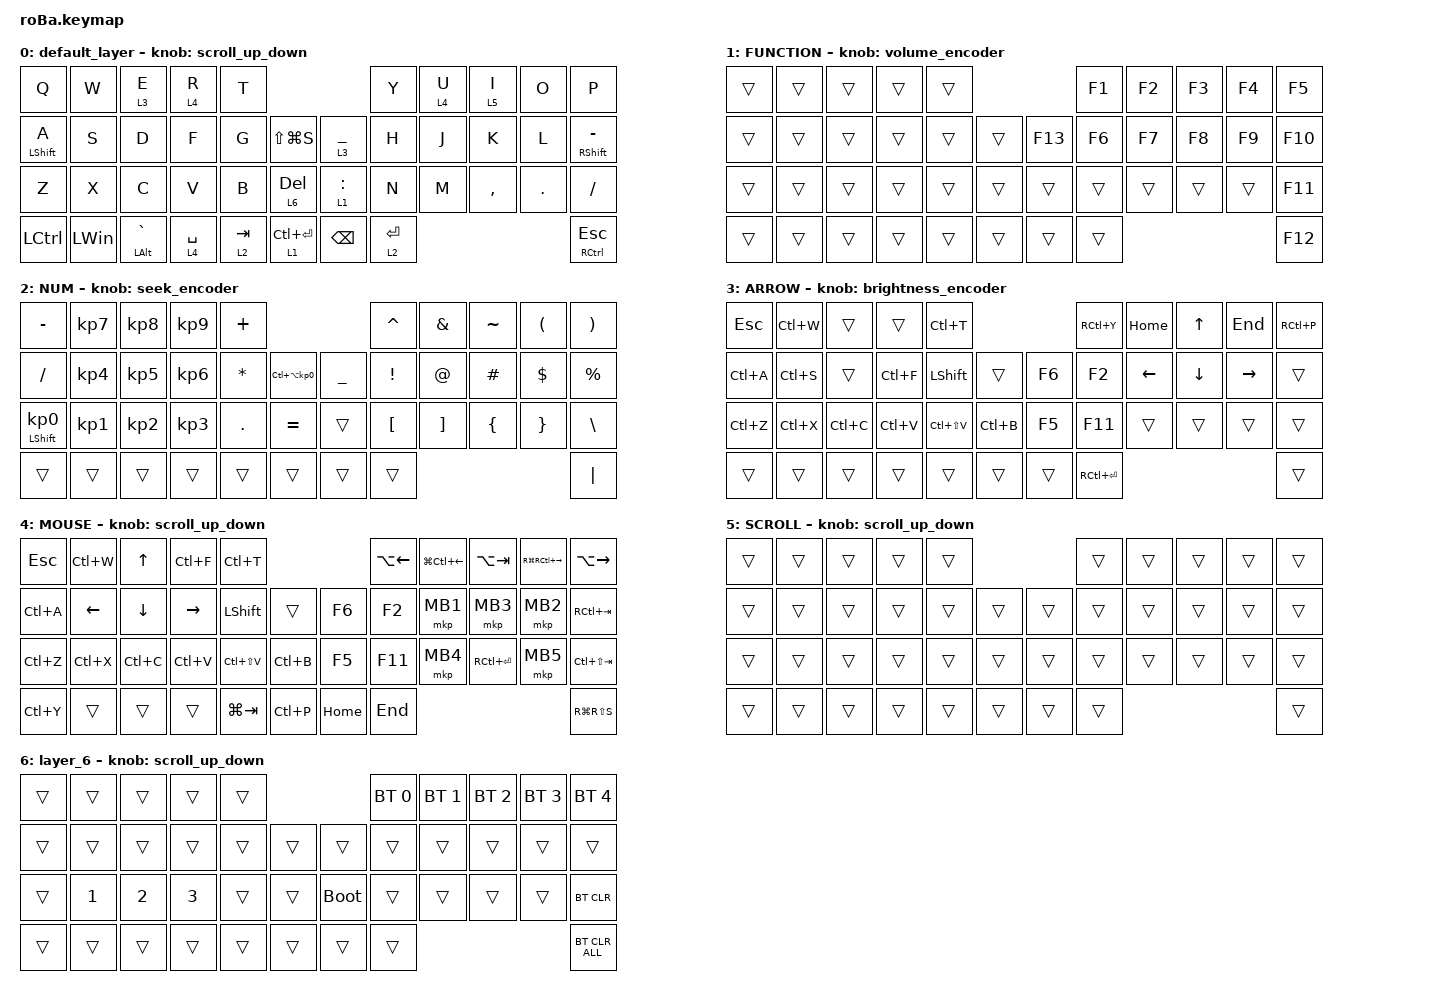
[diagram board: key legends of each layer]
#include <behaviors.dtsi>
#include <dt-bindings/zmk/bt.h>
#include <dt-bindings/zmk/keys.h>
#include <dt-bindings/zmk/pointing.h>

#define ZMK_POINTING_DEFAULT_SCRL_VAL 100

&mt {
    flavor = "balanced";
    quick-tap-ms = <0>;
};

&trackball {
    //  automouse-layer = <4>;

    scroll-layers = <5>;

    arrows {
        layers = <3>;
        bindings =
            <&kp RIGHT_ARROW>,
            <&kp LEFT_ARROW>,
            <&kp UP_ARROW>,
            <&kp DOWN_ARROW>;

        tick = <10>;
        wait-ms = <5>;
        tap-ms = <5>;
    };
};

/ {
    combos {
        compatible = "zmk,combos";

        tab {
            bindings = <&kp TAB>;
            key-positions = <11 12>;
        };

        shift_tab {
            bindings = <&kp LS(TAB)>;
            key-positions = <12 13>;
        };

        muhennkann {
            bindings = <&to_layer_0 INT_MUHENKAN>;
            key-positions = <11 10>;
        };

        double_quotation {
            bindings = <&kp DOUBLE_QUOTES>;
            key-positions = <20 21>;
        };

        eq {
            bindings = <&kp EQUAL>;
            key-positions = <24 25>;
        };
    };

    macros {
        to_layer_0: to_layer_0 {
            compatible = "zmk,behavior-macro-one-param";
            #binding-cells = <1>;
            bindings = <&to 0 &macro_param_1to1 &kp MACRO_PLACEHOLDER>;
            label = "TO_LAYER_0";
        };
    };

    behaviors {
        lt_to_layer_0: lt_to_layer_0 {
            compatible = "zmk,behavior-hold-tap";
            label = "LAYER_TAP_TO_0";
            bindings = <&mo>, <&to_layer_0>;

            #binding-cells = <2>;
            tapping-term-ms = <200>;
        };

        scroll_up_down: behavior_sensor_rotate_mouse_wheel_up_down {
            compatible = "zmk,behavior-sensor-rotate";
            #sensor-binding-cells = <0>;
            bindings = <&msc SCRL_UP>, <&msc SCRL_DOWN>;

            tap-ms = <20>;
        };

        volume_encoder: behavior_sensor_rotate_volume {
            compatible = "zmk,behavior-sensor-rotate";
            #sensor-binding-cells = <0>;
            bindings = <&kp C_VOL_DN>, <&kp C_VOL_UP>;

            tap-ms = <20>;
        };

        seek_encoder: behavior_sensor_rotate_seek {
            compatible = "zmk,behavior-sensor-rotate";
            #sensor-binding-cells = <0>;
            bindings = <&kp LEFT>, <&kp RIGHT>;

            tap-ms = <20>;
        };

        brightness_encoder: behavior_sensor_rotate_brightness {
            compatible = "zmk,behavior-sensor-rotate";
            #sensor-binding-cells = <0>;
            bindings = <&kp C_BRI_DN>, <&kp C_BRI_UP>;

            tap-ms = <20>;
        };
    };

    keymap {
        compatible = "zmk,keymap";

        default_layer {
            bindings = <
&kp Q             &kp W         &lt 3 E             &lt 4 R                 &kp T                                             &kp Y        &lt 4 U  &lt 5 I    &kp O    &kp P
&mt LEFT_SHIFT A  &kp S         &kp D               &kp F                   &kp G      &kp LS(LG(S))        &lt 3 UNDERSCORE  &kp H        &kp J    &kp K      &kp L    &mt RIGHT_SHIFT MINUS
&kp Z             &kp X         &kp C               &kp V                   &kp B      &lt 6 DELETE         &lt 1 COLON       &kp N        &kp M    &kp COMMA  &kp DOT  &kp SLASH
&kp LCTRL         &kp LEFT_WIN  &mt LEFT_ALT GRAVE  &lt_to_layer_0 4 SPACE  &lt 2 TAB  &lt 1 LC(ENTER)      &kp BACKSPACE     &lt 2 ENTER                               &mt RIGHT_CONTROL ESCAPE
            >;

            sensor-bindings = <&scroll_up_down>;
        };

        FUNCTION {
            bindings = <
&trans  &trans  &trans  &trans  &trans                       &kp F1  &kp F2  &kp F3  &kp F4  &kp F5
&trans  &trans  &trans  &trans  &trans  &trans      &kp F13  &kp F6  &kp F7  &kp F8  &kp F9  &kp F10
&trans  &trans  &trans  &trans  &trans  &trans      &trans   &trans  &trans  &trans  &trans  &kp F11
&trans  &trans  &trans  &trans  &trans  &trans      &trans   &trans                          &kp F12
            >;

            sensor-bindings = <&volume_encoder>;
        };

        NUM {
            bindings = <
&kp MINUS                   &kp KP_NUMBER_7  &kp KP_NUMBER_8  &kp KP_NUMBER_9  &kp PLUS                                                   &kp CARET         &kp AMPERSAND      &kp TILDE       &kp LEFT_PARENTHESIS  &kp RIGHT_PARENTHESIS
&kp SLASH                   &kp KP_NUMBER_4  &kp KP_NUMBER_5  &kp KP_NUMBER_6  &kp ASTERISK  &kp LC(LA(KP_NUMBER_0))      &kp UNDERSCORE  &kp EXCLAMATION   &kp AT_SIGN        &kp HASH        &kp DOLLAR            &kp PERCENT
&mt LEFT_SHIFT KP_NUMBER_0  &kp KP_NUMBER_1  &kp KP_NUMBER_2  &kp KP_NUMBER_3  &kp PERIOD    &kp EQUAL                    &trans          &kp LEFT_BRACKET  &kp RIGHT_BRACKET  &kp LEFT_BRACE  &kp RIGHT_BRACE       &kp BACKSLASH
&trans                      &trans           &trans           &trans           &trans        &trans                       &trans          &trans                                                                     &kp PIPE
            >;

            sensor-bindings = <&seek_encoder>;
        };

        ARROW {
            bindings = <
&kp ESCAPE  &kp LC(W)  &trans     &trans     &kp LC(T)                              &kp RC(Y)      &kp HOME        &kp UP_ARROW    &kp END          &kp RC(P)
&kp LC(A)   &kp LC(S)  &trans     &kp LC(F)  &kp LEFT_SHIFT  &trans         &kp F6  &kp F2         &kp LEFT_ARROW  &kp DOWN_ARROW  &kp RIGHT_ARROW  &trans
&kp LC(Z)   &kp LC(X)  &kp LC(C)  &kp LC(V)  &kp LC(LS(V))   &kp LC(B)      &kp F5  &kp F11        &trans          &trans          &trans           &trans
&trans      &trans     &trans     &trans     &trans          &trans         &trans  &kp RC(ENTER)                                                   &trans
            >;

            sensor-bindings = <&brightness_encoder>;
        };

        MOUSE {
            bindings = <
&kp ESCAPE  &kp LC(W)       &kp UP_ARROW    &kp LC(F)        &kp LC(T)                                &kp LA(LEFT_ARROW)  &kp LG(LC(LEFT_ARROW))  &kp LA(TAB)    &kp RG(RC(RIGHT_ARROW))  &kp LA(RIGHT)
&kp LC(A)   &kp LEFT_ARROW  &kp DOWN_ARROW  &kp RIGHT_ARROW  &kp LEFT_SHIFT  &trans         &kp F6    &kp F2              &mkp MB1                &mkp MB3       &mkp MB2                 &kp RC(TAB)
&kp LC(Z)   &kp LC(X)       &kp LC(C)       &kp LC(V)        &kp LC(LS(V))   &kp LC(B)      &kp F5    &kp F11             &mkp MB4                &kp RC(ENTER)  &mkp MB5                 &kp LC(LS(TAB))
&kp LC(Y)   &trans          &trans          &trans           &kp LG(TAB)     &kp LC(P)      &kp HOME  &kp END                                                                             &kp RG(RS(S))
            >;

            sensor-bindings = <&scroll_up_down>;
        };

        SCROLL {
            bindings = <
&trans  &trans  &trans  &trans  &trans                      &trans  &trans  &trans  &trans  &trans
&trans  &trans  &trans  &trans  &trans  &trans      &trans  &trans  &trans  &trans  &trans  &trans
&trans  &trans  &trans  &trans  &trans  &trans      &trans  &trans  &trans  &trans  &trans  &trans
&trans  &trans  &trans  &trans  &trans  &trans      &trans  &trans                          &trans
            >;

            sensor-bindings = <&scroll_up_down>;
        };

        layer_6 {
            bindings = <
&trans  &trans        &trans        &trans        &trans                           &bt BT_SEL 0  &bt BT_SEL 1  &bt BT_SEL 2  &bt BT_SEL 3  &bt BT_SEL 4
&trans  &trans        &trans        &trans        &trans  &trans      &trans       &trans        &trans        &trans        &trans        &trans
&trans  &kp NUMBER_1  &kp NUMBER_2  &kp NUMBER_3  &trans  &trans      &bootloader  &trans        &trans        &trans        &trans        &bt BT_CLR
&trans  &trans        &trans        &trans        &trans  &trans      &trans       &trans                                                  &bt BT_CLR_ALL
            >;

            sensor-bindings = <&scroll_up_down>;
        };
    };
};
